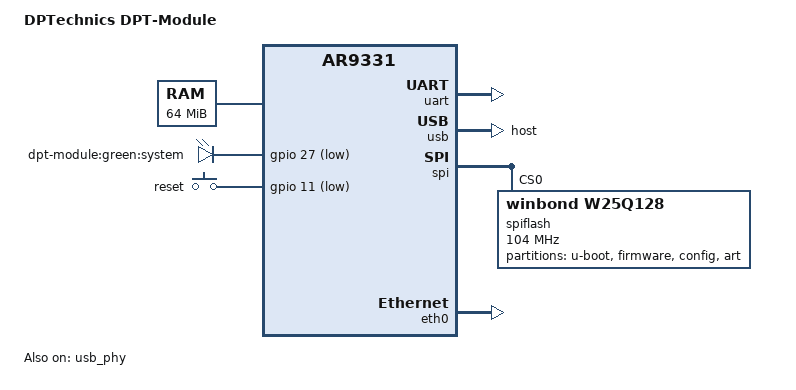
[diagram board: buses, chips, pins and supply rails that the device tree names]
// SPDX-License-Identifier: GPL-2.0
/dts-v1/;

#include <dt-bindings/gpio/gpio.h>
#include <dt-bindings/input/input.h>

#include "ar9331.dtsi"

/ {
	model = "DPTechnics DPT-Module";
	compatible = "dptechnics,dpt-module";

	aliases {
		serial0 = &uart;
	};

	memory@0 {
		device_type = "memory";
		reg = <0x0 0x4000000>;
	};

	leds {
		compatible = "gpio-leds";

		system {
			label = "dpt-module:green:system";
			gpios = <&gpio 27 GPIO_ACTIVE_LOW>;
			default-state = "off";
		};
	};

	gpio-keys {
		compatible = "gpio-keys";
		#address-cells = <1>;
		#size-cells = <0>;

		button@0 {
			label = "reset";
			linux,code = <KEY_RESTART>;
			gpios = <&gpio 11 GPIO_ACTIVE_LOW>;
		};
	};
};

&ref {
	clock-frequency = <25000000>;
};

&uart {
	status = "okay";
};

&gpio {
	status = "okay";
};

&usb {
	dr_mode = "host";
	status = "okay";
};

&usb_phy {
	status = "okay";
};

&spi {
	num-chipselects = <1>;
	status = "okay";

	/* Winbond 25Q128FVSG SPI flash */
	spiflash: w25q128@0 {
		#address-cells = <1>;
		#size-cells = <1>;
		compatible = "winbond,w25q128", "jedec,spi-nor";
		spi-max-frequency = <104000000>;
		reg = <0>;

		partitions {
			compatible = "fixed-partitions";
			#address-cells = <1>;
			#size-cells = <1>;

			uboot:	partition@0 {
				label = "u-boot";
				reg = <0x000000 0x020000>;
				read-only;
			};

			partition@20000 {
				compatible = "tplink,firmware";
				label = "firmware";
				reg = <0x020000 0x3c0000>;
			};

			partition@3e0000 {
				label = "config";
				reg = <0x3e0000 0x010000>;
				read-only;
			};

			art: partition@3f0000 {
				label = "art";
				reg = <0x3f0000 0x010000>;
				read-only;
			};
		};


	};
};

&eth0 {
	status = "okay";

	mtd-mac-address = <&uboot 0x1fc00>;
	gmac-config {
		device = <&gmac>;

		switch-phy-addr-swap = <0>;
		switch-phy-swap = <0>;
	};
};

&eth1 {
	status = "okay";
	compatible = "syscon", "simple-mfd";
};


